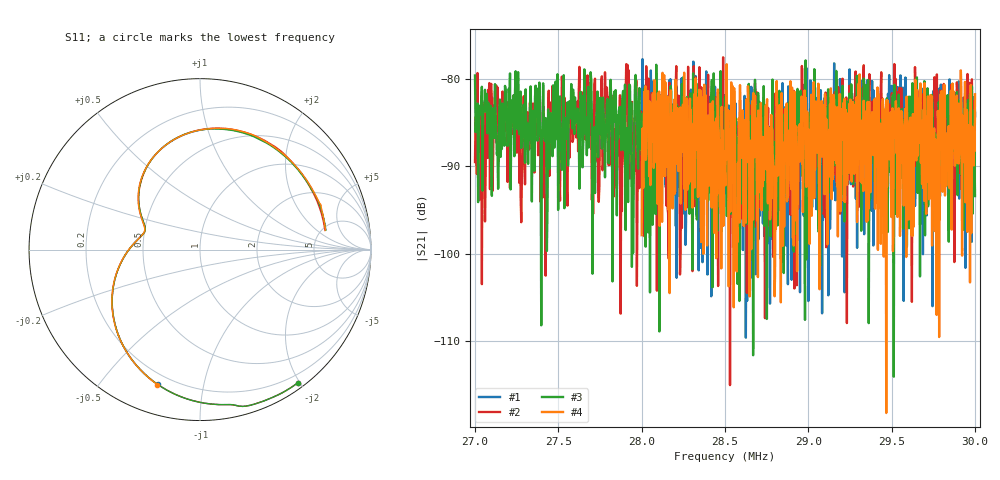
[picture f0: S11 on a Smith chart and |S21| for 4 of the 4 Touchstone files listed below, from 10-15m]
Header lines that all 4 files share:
! NanoVNA-App by OneOfEleven et al v1.1.209 (+OD18)
! S-Parameter data: F S11 S21 S12 S22
# Hz S RI R 50
!  Frequency  S11_Real  S11_Imag  S21_Real  S21_Imag  S12_Real  S12_Imag  S22_Real  S22_Imag
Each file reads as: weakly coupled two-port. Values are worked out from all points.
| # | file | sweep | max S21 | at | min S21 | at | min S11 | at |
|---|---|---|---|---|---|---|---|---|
| 1 | mem_0.s2p | 28 MHz to 30 MHz | -77.75 dB | 28 MHz | -109.6 dB | 28.62 MHz | -9.3 dB | 28.73 MHz |
| 2 | nanovna-h_2025-07-14_21-07-34.s2p | 27 MHz to 30 MHz | -77.55 dB | 28.49 MHz | -115.1 dB | 28.53 MHz | -9.4 dB | 28.73 MHz |
| 3 | nanovna-h_2025-07-14_21-08-02.s2p | 27 MHz to 30 MHz | -77.91 dB | 28.98 MHz | -114.1 dB | 29.51 MHz | -9.4 dB | 28.73 MHz |
| 4 | nanovna-h_2025-07-14_21-08-46.s2p | 28 MHz to 30 MHz | -78.35 dB | 28.51 MHz | -118.2 dB | 29.47 MHz | -9.3 dB | 28.73 MHz |
